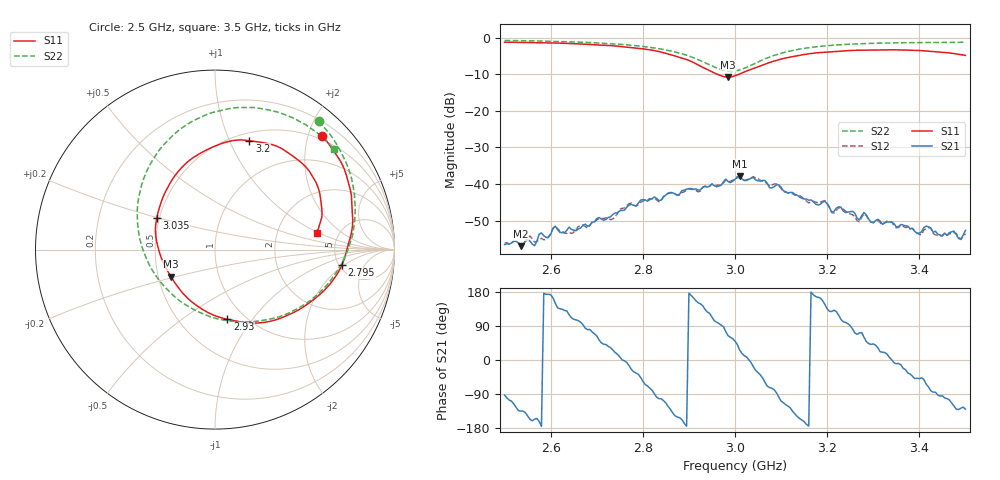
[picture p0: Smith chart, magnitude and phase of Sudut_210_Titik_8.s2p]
# Hz S RI R 50
! CMT, C1220, 16058040, 17.2.0/1
! Date: 15/08/2018 09:57:06
! Data: Format (Calibration Info)
! Freq  S11: Re/Im (F2)  S21: Re/Im (F2)  S12: Re/Im (F2)  S22: Re/Im (F2)
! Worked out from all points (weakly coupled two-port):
!   201 points, 2.5 GHz to 3.5 GHz, reference 50 ohm
!   highest |S21| = -37.92 dB at 3.01 GHz (marker M1); lowest = -57.0 dB at 2.535 GHz (marker M2)
!   lowest |S11| = -10.8 dB at 2.985 GHz (marker M3), VSWR 1.81, Z = 29.1 - j9.55 ohm
!   |S11| at or under -10 dB: 2.962 GHz to 3.009 GHz (46.45 MHz wide, 1.56 % of centre)
!   |S22| runs from -9.2 to -0.7 dB; largest |S21 - S12| = 0.0011
!   S11 on the Smith chart (normalised r, x): 2.5 GHz: 0.43, +2.25; 2.795 GHz: 5.27, -1.85; 2.93 GHz: 0.83, -0.76; 3.035 GHz: 0.48, +0.20; 3.2 GHz: 0.58, +1.19; 3.5 GHz: 3.40, +0.96
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2.5e9  0.5984 0.6325  -7.14e-05 -0.00148  -5.68e-05 -0.00156  0.5772 0.7142
2.535e9  0.6397 0.5799  -0.00099 -0.001  -0.000986 -0.00101  0.6162 0.6713
2.555e9  0.6581 0.5526  -0.00152 -0.000666  -0.00174 -0.000853  0.6383 0.6456
2.59e9  0.6985 0.4931  -0.00184 0.000223  -0.00175 6.2e-05  0.6746 0.5925
2.61e9  0.7163 0.4576  -0.00229 0.00133  -0.00231 0.00129  0.6942 0.5576
2.645e9  0.7434 0.3742  -0.000877 0.00223  -0.0009 0.0019  0.7271 0.4932
2.67e9  0.7577 0.3154  -0.000154 0.00273  -1.63e-05 0.00272  0.7477 0.4398
2.795e9  0.7065 -0.0868  0.00419 -0.00429  0.00387 -0.00407  0.7647 0.0746
2.835e9  0.6047 -0.2313  -0.00123 -0.00579  -0.00104 -0.00563  0.7041 -0.0793
2.93e9  0.068 -0.3882  -0.00724 0.0054  -0.00745 0.00494  0.2541 -0.3961
2.985e9  -0.2456 -0.1504  0.0047 0.00973  0.00434 0.01  -0.1794 -0.298
3e9  -0.2978 -0.0501  0.00754 0.00879  0.00784 0.00841  -0.279 -0.2092
3.01e9  -0.3184 0.0162  0.0114 0.00565  0.0108 0.0056  -0.3342 -0.1386
3.035e9  -0.3249 0.1742  0.0119 -0.00148  0.012 -0.00127  -0.4182 0.0556
3.1e9  -0.1556 0.4861  -0.00281 -0.00854  -0.0031 -0.00806  -0.3406 0.509
3.17e9  0.0971 0.6068  -0.00567 0.000773  -0.00579 0.000287  -0.073 0.7412
3.2e9  0.1911 0.6065  -0.00379 0.00376  -0.00371 0.004  0.0386 0.7762
3.27e9  0.3809 0.5574  0.00102 0.00306  0.000886 0.00293  0.2601 0.7853
3.28e9  0.4026 0.5424  0.00203 0.00353  0.00186 0.00345  0.2868 0.7801
3.335e9  0.508 0.4586  0.003 0.000379  0.00304 0.000261  0.414 0.7424
3.49e9  0.5766 0.1191  -0.00105 -0.00138  -0.00115 -0.00132  0.6519 0.5716
3.5e9  0.5661 0.0948  -0.00148 -0.00179  -0.00147 -0.00148  0.6628 0.5595
